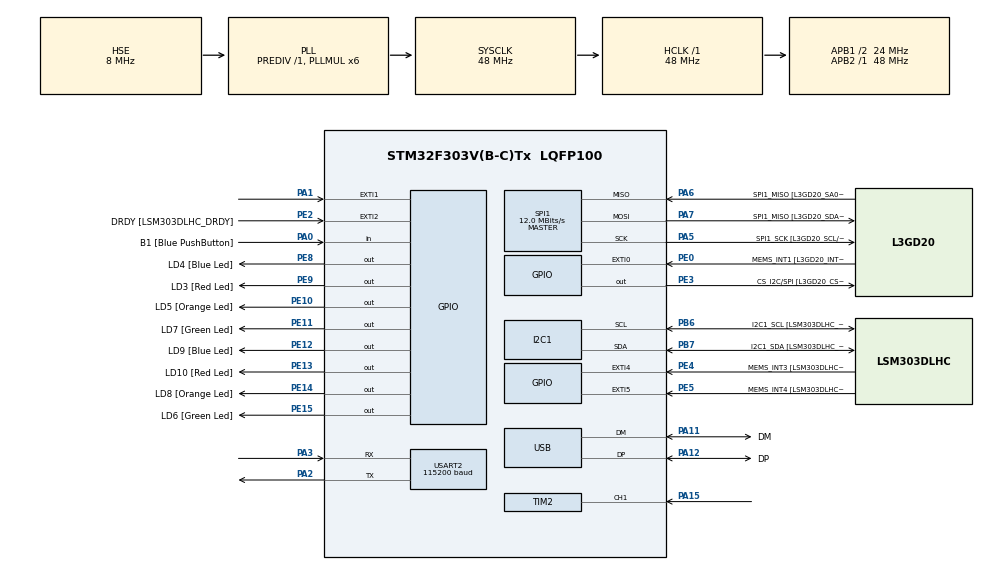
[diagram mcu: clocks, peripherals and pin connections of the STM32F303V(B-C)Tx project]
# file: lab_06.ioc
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I2C1.Timing=0x00201D2B
I2C1.Timing-I2C=0x2000090E
Mcu.Family=STM32F3
Mcu.Name=STM32F303V(B-C)Tx
Mcu.Package=LQFP100
NVIC.EXTI1_IRQn=true\:0\:0\:false\:false\:true\:true\:true\:true
NVIC.PriorityGroup=NVIC_PRIORITYGROUP_0
PA0.GPIO_Label=B1 [Blue PushButton]
PA0.Signal=GPIO_Input
PA1.GPIO_ModeDefaultEXTI=GPIO_MODE_IT_RISING
PA1.GPIO_PuPd=GPIO_NOPULL
PA1.Signal=GPXTI1
PA11.GPIO_Label=DM
PA11.Mode=Device
PA11.Signal=USB_DM
PA12.GPIO_Label=DP
PA12.Mode=Device
PA12.Signal=USB_DP
PA13.GPIO_Label=SWDIO
PA13.Mode=Serial_Wire
PA13.Signal=SYS_JTMS-SWDIO
PA14.GPIO_Label=SWCLK
PA14.Mode=Serial_Wire
PA14.Signal=SYS_JTCK-SWCLK
PA15.Signal=S_TIM2_CH1_ETR
PA2.Mode=Asynchronous
PA2.Signal=USART2_TX
PA3.Mode=Asynchronous
PA3.Signal=USART2_RX
PA5.GPIO_Label=SPI1_SCK [L3GD20_SCL/SPC]
PA5.Mode=Full_Duplex_Master
PA5.Signal=SPI1_SCK
PA6.GPIO_Label=SPI1_MISO [L3GD20_SA0/SDO]
PA6.Mode=Full_Duplex_Master
PA6.Signal=SPI1_MISO
PA7.GPIO_Label=SPI1_MISO [L3GD20_SDA/SDI/SDO]
PA7.Mode=Full_Duplex_Master
PA7.Signal=SPI1_MOSI
PB3.GPIO_Label=SWO
PB3.Signal=SYS_JTDO-TRACESWO
PB6.GPIO_Label=I2C1_SCL [LSM303DLHC_SCL]
PB6.GPIO_Pu=GPIO_PULLUP
PB6.Mode=I2C
PB6.Signal=I2C1_SCL
PB7.GPIO_Label=I2C1_SDA [LSM303DLHC_SDA]
PB7.GPIO_Pu=GPIO_PULLUP
PB7.Mode=I2C
PB7.Signal=I2C1_SDA
PC14-OSC32_IN.GPIO_Label=OSC32_IN
PC14-OSC32_IN.Signal=RCC_OSC32_IN
PC15-OSC32_OUT.GPIO_Label=OSC32_OUT
PC15-OSC32_OUT.Signal=RCC_OSC32_OUT
PE0.GPIO_Label=MEMS_INT1 [L3GD20_INT1]
PE0.GPIO_ModeDefaultEXTI=GPIO_MODE_EVT_RISING
PE0.Signal=GPXTI0
PE10.GPIO_Label=LD5 [Orange Led]
PE10.Signal=GPIO_Output
PE11.GPIO_Label=LD7 [Green Led]
PE11.Signal=GPIO_Output
PE12.GPIO_Label=LD9 [Blue Led]
PE12.Signal=GPIO_Output
PE13.GPIO_Label=LD10 [Red Led]
PE13.Signal=GPIO_Output
PE14.GPIO_Label=LD8 [Orange Led]
PE14.Signal=GPIO_Output
PE15.GPIO_Label=LD6 [Green Led]
PE15.Signal=GPIO_Output
PE2.GPIO_Label=DRDY [LSM303DLHC_DRDY]
PE2.GPIO_ModeDefaultEXTI=GPIO_MODE_EVT_RISING
PE2.Signal=GPXTI2
PE3.GPIO_Label=CS_I2C/SPI [L3GD20_CS_I2C/SPI]
PE3.Signal=GPIO_Output
PE4.GPIO_Label=MEMS_INT3 [LSM303DLHC_INT1]
PE4.GPIO_ModeDefaultEXTI=GPIO_MODE_EVT_RISING
PE4.Signal=GPXTI4
PE5.GPIO_Label=MEMS_INT4 [LSM303DLHC_INT2]
PE5.GPIO_ModeDefaultEXTI=GPIO_MODE_EVT_RISING
PE5.Signal=GPXTI5
PE8.GPIO_Label=LD4 [Blue Led]
PE8.Signal=GPIO_Output
PE9.GPIO_Label=LD3 [Red Led]
PE9.Signal=GPIO_Output
PF0-OSC_IN.GPIO_Label=OSC_IN
PF0-OSC_IN.Mode=HSE-External-Clock-Source
PF0-OSC_IN.Signal=RCC_OSC_IN
PF1-OSC_OUT.GPIO_Label=OSC_OUT
PF1-OSC_OUT.Signal=RCC_OSC_OUT
ProjectManager.HeapSize=0x200
ProjectManager.StackSize=0x400
ProjectManager.TargetToolchain=CMake
RCC.AHBFreq_Value=48000000
RCC.APB1CLKDivider=RCC_HCLK_DIV2
RCC.APB1Freq_Value=24000000
RCC.APB1TimFreq_Value=48000000
RCC.APB2Freq_Value=48000000
RCC.APB2TimFreq_Value=48000000
RCC.CortexFreq_Value=48000000
RCC.HCLKFreq_Value=48000000
RCC.HSE_VALUE=8000000
RCC.HSI_VALUE=8000000
RCC.LSE_VALUE=32768
RCC.PLLMUL=RCC_PLL_MUL6
RCC.SYSCLKFreq_VALUE=48000000
RCC.SYSCLKSourceVirtual=RCC_SYSCLKSOURCE_PLLCLK
RCC.USBFreq_Value=48000000
SH.S_TIM2_CH1_ETR.0=TIM2_CH1,Input_Capture1_from_TI1
SPI1.BaudRatePrescaler=SPI_BAUDRATEPRESCALER_4
SPI1.BaudRatePrescaler-Full_Duplex_Master=SPI_BAUDRATEPRESCALER_2
SPI1.CalculateBaudRate=12.0 MBits/s
SPI1.CalculateBaudRate-Full_Duplex_Master=24.0 MBits/s
SPI1.Direction=SPI_DIRECTION_2LINES
SPI1.Mode=SPI_MODE_MASTER
SPI1.Mode-Full_Duplex_Master=SPI_MODE_MASTER
SPI1.VirtualType=VM_MASTER
TIM2.Channel-Input_Capture1_from_TI1=TIM_CHANNEL_1
TIM2.Period=0xFFFFFFFF
TIM2.Prescaler=47
USART2.BaudRate=115200
USART2.VirtualMode-Asynchronous=VM_ASYNC
VP_TIM2_VS_ClockSourceINT.Mode=Internal
board=STM32F3DISCOVERY

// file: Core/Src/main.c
/* USER CODE BEGIN Header */
/**
  ******************************************************************************
  * @file           : main.c
  * @brief          : Main program body
  ******************************************************************************
  * @attention
  *
  * Copyright (c) 2026 STMicroelectronics.
  * All rights reserved.
  *
  * This software is licensed under terms that can be found in the LICENSE file
  * in the root directory of this software component.
  * If no LICENSE file comes with this software, it is provided AS-IS.
  *
  ******************************************************************************
  */
/* USER CODE END Header */
#include "main.h"
#include "stdio.h"

I2C_HandleTypeDef hi2c1;

SPI_HandleTypeDef hspi1;

TIM_HandleTypeDef htim2;

UART_HandleTypeDef huart2;

PCD_HandleTypeDef hpcd_USB_FS;

/* USER CODE BEGIN PV */
uint32_t ic_val1 = 0;
uint32_t ic_val2 = 0;
uint32_t difference = 0;
uint8_t is_first_capture = 0;

float frequency = 0;

char msg[50];

/* USER CODE END PV */

void SystemClock_Config(void);
static void MX_GPIO_Init(void);
static void MX_I2C1_Init(void);
static void MX_SPI1_Init(void);
static void MX_TIM2_Init(void);
static void MX_USB_PCD_Init(void);
static void MX_USART2_UART_Init(void);

/* USER CODE BEGIN 0 */
#define SAMPLE_SIZE 16

uint32_t capture_values[SAMPLE_SIZE];
uint8_t idx = 0;
uint8_t first_capture = 1;
uint8_t data_ready = 0;

uint32_t start_time = 0;
uint32_t end_time = 0;
/* USER CODE END 0 */

int main(void)
{

  /* MCU Configuration--------------------------------------------------------*/

  /* Reset of all peripherals, Initializes the Flash interface and the Systick. */
  HAL_Init();

  /* Configure the system clock */
  SystemClock_Config();

  /* Initialize all configured peripherals */
  MX_GPIO_Init();
  MX_I2C1_Init();
  MX_SPI1_Init();
  MX_TIM2_Init();
  HAL_TIM_IC_Start_IT(&htim2, TIM_CHANNEL_1);
  MX_USB_PCD_Init();
  MX_USART2_UART_Init();
  /* USER CODE BEGIN 2 */

  HAL_TIM_Base_Start(&htim2);
  /* USER CODE END 2 */

  /* Infinite loop */
  while (1)
  {
    int len = sprintf(msg, "Frequency = %.2f Hz\r\n", frequency);
    HAL_UART_Transmit(&huart2, (uint8_t*)msg, len, HAL_MAX_DELAY);

    HAL_Delay(500);
  }
}

void SystemClock_Config(void)
{
  RCC_OscInitTypeDef RCC_OscInitStruct = {0};
  RCC_ClkInitTypeDef RCC_ClkInitStruct = {0};
  RCC_PeriphCLKInitTypeDef PeriphClkInit = {0};

  /** Initializes the RCC Oscillators according to the specified parameters
  * in the RCC_OscInitTypeDef structure.
  */
  RCC_OscInitStruct.OscillatorType = RCC_OSCILLATORTYPE_HSI|RCC_OSCILLATORTYPE_HSE;
  RCC_OscInitStruct.HSEState = RCC_HSE_BYPASS;
  RCC_OscInitStruct.HSEPredivValue = RCC_HSE_PREDIV_DIV1;
  RCC_OscInitStruct.HSIState = RCC_HSI_ON;
  RCC_OscInitStruct.HSICalibrationValue = RCC_HSICALIBRATION_DEFAULT;
  RCC_OscInitStruct.PLL.PLLState = RCC_PLL_ON;
  RCC_OscInitStruct.PLL.PLLSource = RCC_PLLSOURCE_HSE;
  RCC_OscInitStruct.PLL.PLLMUL = RCC_PLL_MUL6;
  if (HAL_RCC_OscConfig(&RCC_OscInitStruct) != HAL_OK)
  {
    Error_Handler();
  }

  /** Initializes the CPU, AHB and APB buses clocks
  */
  RCC_ClkInitStruct.ClockType = RCC_CLOCKTYPE_HCLK|RCC_CLOCKTYPE_SYSCLK
                              |RCC_CLOCKTYPE_PCLK1|RCC_CLOCKTYPE_PCLK2;
  RCC_ClkInitStruct.SYSCLKSource = RCC_SYSCLKSOURCE_PLLCLK;
  RCC_ClkInitStruct.AHBCLKDivider = RCC_SYSCLK_DIV1;
  RCC_ClkInitStruct.APB1CLKDivider = RCC_HCLK_DIV2;
  RCC_ClkInitStruct.APB2CLKDivider = RCC_HCLK_DIV1;

  if (HAL_RCC_ClockConfig(&RCC_ClkInitStruct, FLASH_LATENCY_1) != HAL_OK)
  {
    Error_Handler();
  }
  PeriphClkInit.PeriphClockSelection = RCC_PERIPHCLK_USB|RCC_PERIPHCLK_USART2
                              |RCC_PERIPHCLK_I2C1;
  PeriphClkInit.Usart2ClockSelection = RCC_USART2CLKSOURCE_PCLK1;
  PeriphClkInit.I2c1ClockSelection = RCC_I2C1CLKSOURCE_HSI;
  PeriphClkInit.USBClockSelection = RCC_USBCLKSOURCE_PLL;
  if (HAL_RCCEx_PeriphCLKConfig(&PeriphClkInit) != HAL_OK)
  {
    Error_Handler();
  }
}

static void MX_I2C1_Init(void)
{

  hi2c1.Instance = I2C1;
  hi2c1.Init.Timing = 0x00201D2B;
  hi2c1.Init.OwnAddress1 = 0;
  hi2c1.Init.AddressingMode = I2C_ADDRESSINGMODE_7BIT;
  hi2c1.Init.DualAddressMode = I2C_DUALADDRESS_DISABLE;
  hi2c1.Init.OwnAddress2 = 0;
  hi2c1.Init.OwnAddress2Masks = I2C_OA2_NOMASK;
  hi2c1.Init.GeneralCallMode = I2C_GENERALCALL_DISABLE;
  hi2c1.Init.NoStretchMode = I2C_NOSTRETCH_DISABLE;
  if (HAL_I2C_Init(&hi2c1) != HAL_OK)
  {
    Error_Handler();
  }

  /** Configure Analogue filter
  */
  if (HAL_I2CEx_ConfigAnalogFilter(&hi2c1, I2C_ANALOGFILTER_ENABLE) != HAL_OK)
  {
    Error_Handler();
  }

  /** Configure Digital filter
  */
  if (HAL_I2CEx_ConfigDigitalFilter(&hi2c1, 0) != HAL_OK)
  {
    Error_Handler();
  }

}

static void MX_SPI1_Init(void)
{

  /* SPI1 parameter configuration*/
  hspi1.Instance = SPI1;
  hspi1.Init.Mode = SPI_MODE_MASTER;
  hspi1.Init.Direction = SPI_DIRECTION_2LINES;
  hspi1.Init.DataSize = SPI_DATASIZE_4BIT;
  hspi1.Init.CLKPolarity = SPI_POLARITY_LOW;
  hspi1.Init.CLKPhase = SPI_PHASE_1EDGE;
  hspi1.Init.NSS = SPI_NSS_SOFT;
  hspi1.Init.BaudRatePrescaler = SPI_BAUDRATEPRESCALER_4;
  hspi1.Init.FirstBit = SPI_FIRSTBIT_MSB;
  hspi1.Init.TIMode = SPI_TIMODE_DISABLE;
  hspi1.Init.CRCCalculation = SPI_CRCCALCULATION_DISABLE;
  hspi1.Init.CRCPolynomial = 7;
  hspi1.Init.CRCLength = SPI_CRC_LENGTH_DATASIZE;
  hspi1.Init.NSSPMode = SPI_NSS_PULSE_ENABLE;
  if (HAL_SPI_Init(&hspi1) != HAL_OK)
  {
    Error_Handler();
  }

}

static void MX_TIM2_Init(void)
{

  TIM_ClockConfigTypeDef sClockSourceConfig = {0};
  TIM_MasterConfigTypeDef sMasterConfig = {0};
  TIM_IC_InitTypeDef sConfigIC = {0};

  htim2.Instance = TIM2;
  htim2.Init.Prescaler = 47;
  htim2.Init.CounterMode = TIM_COUNTERMODE_UP;
  htim2.Init.Period = 0xFFFFFFFF;
  htim2.Init.ClockDivision = TIM_CLOCKDIVISION_DIV1;
  htim2.Init.AutoReloadPreload = TIM_AUTORELOAD_PRELOAD_DISABLE;
  if (HAL_TIM_Base_Init(&htim2) != HAL_OK)
  {
    Error_Handler();
  }
  sClockSourceConfig.ClockSource = TIM_CLOCKSOURCE_INTERNAL;
  if (HAL_TIM_ConfigClockSource(&htim2, &sClockSourceConfig) != HAL_OK)
  {
    Error_Handler();
  }
  if (HAL_TIM_IC_Init(&htim2) != HAL_OK)
  {
    Error_Handler();
  }
  sMasterConfig.MasterOutputTrigger = TIM_TRGO_RESET;
  sMasterConfig.MasterSlaveMode = TIM_MASTERSLAVEMODE_DISABLE;
  if (HAL_TIMEx_MasterConfigSynchronization(&htim2, &sMasterConfig) != HAL_OK)
  {
    Error_Handler();
  }
  sConfigIC.ICPolarity = TIM_INPUTCHANNELPOLARITY_RISING;
  sConfigIC.ICSelection = TIM_ICSELECTION_DIRECTTI;
  sConfigIC.ICPrescaler = TIM_ICPSC_DIV1;
  sConfigIC.ICFilter = 0;
  if (HAL_TIM_IC_ConfigChannel(&htim2, &sConfigIC, TIM_CHANNEL_1) != HAL_OK)
  {
    Error_Handler();
  }

}

static void MX_USART2_UART_Init(void)
{

  huart2.Instance = USART2;
  huart2.Init.BaudRate = 115200;
  huart2.Init.WordLength = UART_WORDLENGTH_8B;
  huart2.Init.StopBits = UART_STOPBITS_1;
  huart2.Init.Parity = UART_PARITY_NONE;
  huart2.Init.Mode = UART_MODE_TX_RX;
  huart2.Init.HwFlowCtl = UART_HWCONTROL_NONE;
  huart2.Init.OverSampling = UART_OVERSAMPLING_16;
  huart2.Init.OneBitSampling = UART_ONE_BIT_SAMPLE_DISABLE;
  huart2.AdvancedInit.AdvFeatureInit = UART_ADVFEATURE_NO_INIT;
  if (HAL_UART_Init(&huart2) != HAL_OK)
  {
    Error_Handler();
  }

}

static void MX_USB_PCD_Init(void)
{

  hpcd_USB_FS.Instance = USB;
  hpcd_USB_FS.Init.dev_endpoints = 8;
  hpcd_USB_FS.Init.speed = PCD_SPEED_FULL;
  hpcd_USB_FS.Init.phy_itface = PCD_PHY_EMBEDDED;
  hpcd_USB_FS.Init.low_power_enable = DISABLE;
  hpcd_USB_FS.Init.battery_charging_enable = DISABLE;
  if (HAL_PCD_Init(&hpcd_USB_FS) != HAL_OK)
  {
    Error_Handler();
  }

}

static void MX_GPIO_Init(void)
{
  GPIO_InitTypeDef GPIO_InitStruct = {0};

  /* GPIO Ports Clock Enable */
  __HAL_RCC_GPIOE_CLK_ENABLE();
  __HAL_RCC_GPIOC_CLK_ENABLE();
  __HAL_RCC_GPIOF_CLK_ENABLE();
  __HAL_RCC_GPIOA_CLK_ENABLE();
  __HAL_RCC_GPIOB_CLK_ENABLE();

  /*Configure GPIO pin Output Level */
  HAL_GPIO_WritePin(GPIOE, CS_I2C_SPI_Pin|LD4_Pin|LD3_Pin|LD5_Pin
                          |LD7_Pin|LD9_Pin|LD10_Pin|LD8_Pin
                          |LD6_Pin, GPIO_PIN_RESET);

  /*Configure GPIO pins : DRDY_Pin MEMS_INT3_Pin MEMS_INT4_Pin MEMS_INT1_Pin */
  GPIO_InitStruct.Pin = DRDY_Pin|MEMS_INT3_Pin|MEMS_INT4_Pin|MEMS_INT1_Pin;
  GPIO_InitStruct.Mode = GPIO_MODE_EVT_RISING;
  GPIO_InitStruct.Pull = GPIO_NOPULL;
  HAL_GPIO_Init(GPIOE, &GPIO_InitStruct);

  /*Configure GPIO pins : CS_I2C_SPI_Pin LD4_Pin LD3_Pin LD5_Pin
                           LD7_Pin LD9_Pin LD10_Pin LD8_Pin
                           LD6_Pin */
  GPIO_InitStruct.Pin = CS_I2C_SPI_Pin|LD4_Pin|LD3_Pin|LD5_Pin
                          |LD7_Pin|LD9_Pin|LD10_Pin|LD8_Pin
                          |LD6_Pin;
  GPIO_InitStruct.Mode = GPIO_MODE_OUTPUT_PP;
  GPIO_InitStruct.Pull = GPIO_NOPULL;
  GPIO_InitStruct.Speed = GPIO_SPEED_FREQ_LOW;
  HAL_GPIO_Init(GPIOE, &GPIO_InitStruct);

  /*Configure GPIO pin : B1_Pin */
  GPIO_InitStruct.Pin = B1_Pin;
  GPIO_InitStruct.Mode = GPIO_MODE_INPUT;
  GPIO_InitStruct.Pull = GPIO_NOPULL;
  HAL_GPIO_Init(B1_GPIO_Port, &GPIO_InitStruct);

  /*Configure GPIO pin : PA1 */
  GPIO_InitStruct.Pin = GPIO_PIN_1;
  GPIO_InitStruct.Mode = GPIO_MODE_IT_RISING;
  GPIO_InitStruct.Pull = GPIO_NOPULL;
  HAL_GPIO_Init(GPIOA, &GPIO_InitStruct);

  /* EXTI interrupt init*/
  HAL_NVIC_SetPriority(EXTI1_IRQn, 0, 0);
  HAL_NVIC_EnableIRQ(EXTI1_IRQn);

}

/* USER CODE BEGIN 4 */
void HAL_TIM_IC_CaptureCallback(TIM_HandleTypeDef *htim)
{
    if (htim->Instance == TIM2 &&
        htim->Channel == HAL_TIM_ACTIVE_CHANNEL_1)
    {
        if (is_first_capture == 0)
        {
            ic_val1 = HAL_TIM_ReadCapturedValue(htim, TIM_CHANNEL_1);
            is_first_capture = 1;
        }
        else
        {   HAL_GPIO_TogglePin(GPIOE, LD3_Pin);
            ic_val2 = HAL_TIM_ReadCapturedValue(htim, TIM_CHANNEL_1);
            if (ic_val2 >= ic_val1)
                difference = ic_val2 - ic_val1;
            else
                difference = (0xFFFFFFFF - ic_val1) + ic_val2 + 1;

            if (difference != 0)
                frequency = 1000000.0f / difference;   // assuming timer tick = 1 MHz
            else
                frequency = 0;

            frequency = 1000000.0f / difference;   // 1 MHz timer

            is_first_capture = 0;
        }
    }
}

/* USER CODE END 4 */

void Error_Handler(void)
{
  __disable_irq();
  while (1)
  {
  }
}
